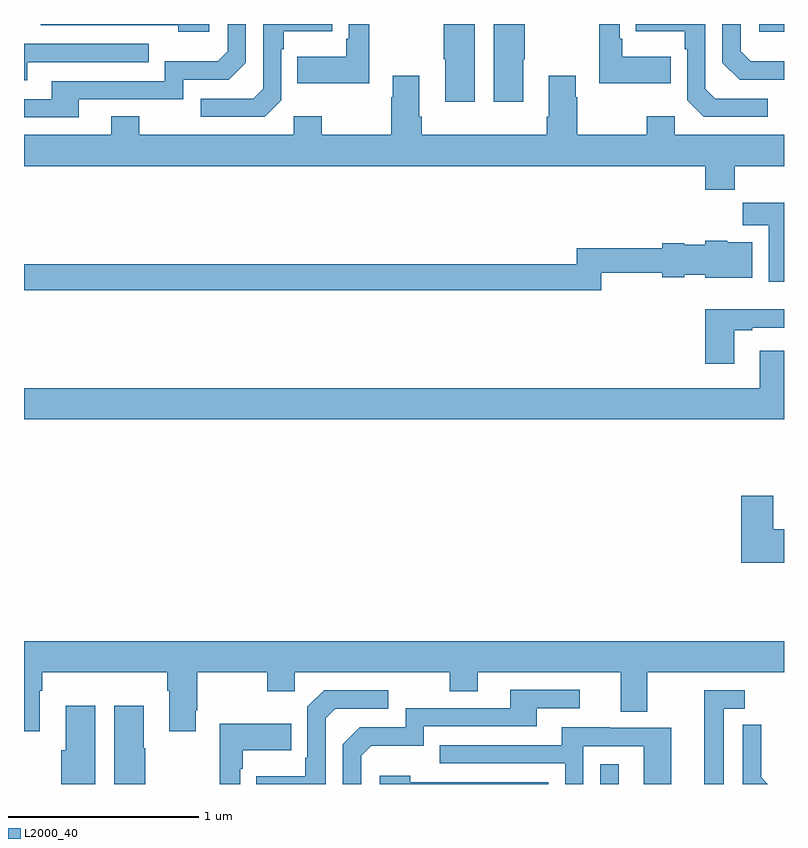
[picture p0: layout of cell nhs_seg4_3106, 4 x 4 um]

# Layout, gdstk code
import gdstk
lib = gdstk.Library(unit=1e-6, precision=1e-09)
def R(c, l, rs):  # rectangles x0, y0, x1, y1
    for r in rs: c.add(gdstk.rectangle(r[:2], r[2:], *l))
def P(c, l, *ps):  # polygons
    for p in ps: c.add(gdstk.Polygon(p, *l))
L2000_40 = (2000, 40)

nhs_seg4_3106 = lib.new_cell('nhs_seg4_3106')
R(nhs_seg4_3106, L2000_40, [(278.034,794.9,278.131,795.004), (278.871,798.86,279,798.9)])
P(nhs_seg4_3106, L2000_40, [(278.405,798.727),(278.149,798.727),(278.149,798.823),(278.136,798.823),(278.136,798.9),(278.028,798.9),(278.028,798.587),(278.405,798.587)],
  [(278.914,798.507),(278.637,798.507),(278.586,798.558),(278.586,798.9),(278.221,798.9),(278.221,798.863),(278.478,798.863),(278.478,798.767),(278.49,798.767),(278.49,798.498),(278.577,798.411),(278.914,798.411)],
  [(275.287,798.504),(275.838,798.504),(275.838,798.606),(276.078,798.606),(276.168,798.696),(276.168,798.9),(276.072,798.9),(276.072,798.756),(276.019,798.703),(275.742,798.703),(275.742,798.6),(275.147,798.6),(275.147,798.504),(275,798.504),(275,798.408),(275.287,798.408)],
  [(275.974,798.9),(275.088,798.9),(275.088,798.894),(275.813,798.894),(275.813,798.86),(275.974,798.86)],
  [(276.354,798.498),(276.354,798.767),(276.367,798.767),(276.367,798.863),(276.623,798.863),(276.623,798.9),(276.258,798.9),(276.258,798.558),(276.207,798.507),(275.931,798.507),(275.931,798.411),(276.267,798.411)],
  [(277.627,798.715),(277.635,798.715),(277.635,798.9),(277.472,798.9),(277.472,798.492),(277.627,798.492)],
  [(277.372,798.9),(277.21,798.9),(277.21,798.715),(277.217,798.715),(277.217,798.492),(277.372,798.492)],
  [(276.817,798.9),(276.708,798.9),(276.708,798.823),(276.696,798.823),(276.696,798.727),(276.439,798.727),(276.439,798.587),(276.817,798.587)],
  [(279,798.703),(278.825,798.703),(278.772,798.756),(278.772,798.9),(278.676,798.9),(278.676,798.696),(278.766,798.606),(279,798.606)],
  [(275.017,798.699),(275.657,798.699),(275.657,798.795),(275,798.795),(275,798.605),(275.017,798.605)],
  [(278.741,798.152),(279,798.152),(279,798.316),(278.424,798.316),(278.424,798.415),(278.278,798.415),(278.278,798.316),(277.911,798.316),(277.911,798.515),(277.903,798.515),(277.903,798.628),(277.763,798.628),(277.763,798.412),(277.751,798.412),(277.751,798.316),(277.094,798.316),(277.094,798.412),(277.081,798.412),(277.081,798.628),(276.941,798.628),(276.941,798.515),(276.934,798.515),(276.934,798.316),(276.567,798.316),(276.567,798.415),(276.42,798.415),(276.42,798.316),(275.607,798.316),(275.607,798.415),(275.459,798.415),(275.459,798.316),(275,798.316),(275,798.152),(278.585,798.152),(278.585,798.028),(278.741,798.028)],
  [(279,797.958),(278.782,797.958),(278.782,797.84),(278.921,797.84),(278.921,797.544),(279,797.544)],
  [(278.038,797.59),(278.36,797.59),(278.36,797.567),(278.475,797.567),(278.475,797.579),(278.586,797.579),(278.586,797.564),(278.833,797.564),(278.833,797.752),(278.7,797.752),(278.7,797.758),(278.586,797.758),(278.586,797.737),(278.475,797.737),(278.475,797.745),(278.36,797.745),(278.36,797.719),(277.909,797.719),(277.909,797.636),(275,797.636),(275,797.5),(278.038,797.5)],
  [(278.737,797.289),(278.833,797.289),(278.833,797.301),(279,797.301),(279,797.398),(278.585,797.398),(278.585,797.112),(278.737,797.112)],
  [(279,797.179),(278.873,797.179),(278.873,796.984),(275,796.984),(275,796.82),(279,796.82)],
  [(279,796.24),(278.944,796.24),(278.944,796.417),(278.774,796.417),(278.774,796.064),(279,796.064)],
  [(275.083,795.392),(275.096,795.392),(275.096,795.488),(275.753,795.488),(275.753,795.392),(275.765,795.392),(275.765,795.177),(275.905,795.177),(275.905,795.289),(275.913,795.289),(275.913,795.488),(276.28,795.488),(276.28,795.389),(276.426,795.389),(276.426,795.488),(277.24,795.488),(277.24,795.389),(277.387,795.389),(277.387,795.488),(278.141,795.488),(278.141,795.28),(278.281,795.28),(278.281,795.488),(279,795.488),(279,795.652),(275,795.652),(275,795.177),(275.083,795.177)],
  [(276.774,795.048),(276.827,795.101),(277.104,795.101),(277.104,795.204),(277.699,795.204),(277.699,795.3),(277.924,795.3),(277.924,795.396),(277.559,795.396),(277.559,795.3),(277.008,795.3),(277.008,795.198),(276.768,795.198),(276.678,795.108),(276.678,794.9),(276.774,794.9)],
  [(276.588,795.246),(276.639,795.297),(276.916,795.297),(276.916,795.393),(276.579,795.393),(276.492,795.306),(276.492,795.037),(276.48,795.037),(276.48,794.941),(276.223,794.941),(276.223,794.9),(276.588,794.9)],
  [(278.683,795.297),(278.794,795.297),(278.794,795.393),(278.579,795.393),(278.579,794.9),(278.683,794.9)],
  [(275.637,795.089),(275.629,795.089),(275.629,795.313),(275.474,795.313),(275.474,794.9),(275.637,794.9)],
  [(275.374,795.313),(275.219,795.313),(275.219,795.078),(275.195,795.078),(275.195,794.9),(275.374,794.9)],
  [(276.138,794.981),(276.151,794.981),(276.151,795.077),(276.407,795.077),(276.407,795.217),(276.03,795.217),(276.03,794.9),(276.138,794.9)],
  [(278.879,794.936),(278.879,795.058),(278.88,795.058),(278.88,795.212),(278.784,795.212),(278.784,794.9),(278.914,794.9)],
  [(277.944,795.099),(278.262,795.099),(278.262,794.9),(278.407,794.9),(278.407,795.195),(278.083,795.195),(278.083,795.199),(277.829,795.199),(277.829,795.105),(277.189,795.105),(277.189,795.009),(277.848,795.009),(277.848,794.9),(277.944,794.9)],
  [(277.758,794.91),(277.034,794.91),(277.034,794.944),(276.873,794.944),(276.873,794.9),(277.758,794.9)])

lib.write_gds('nhs_seg4_3106.gds')
